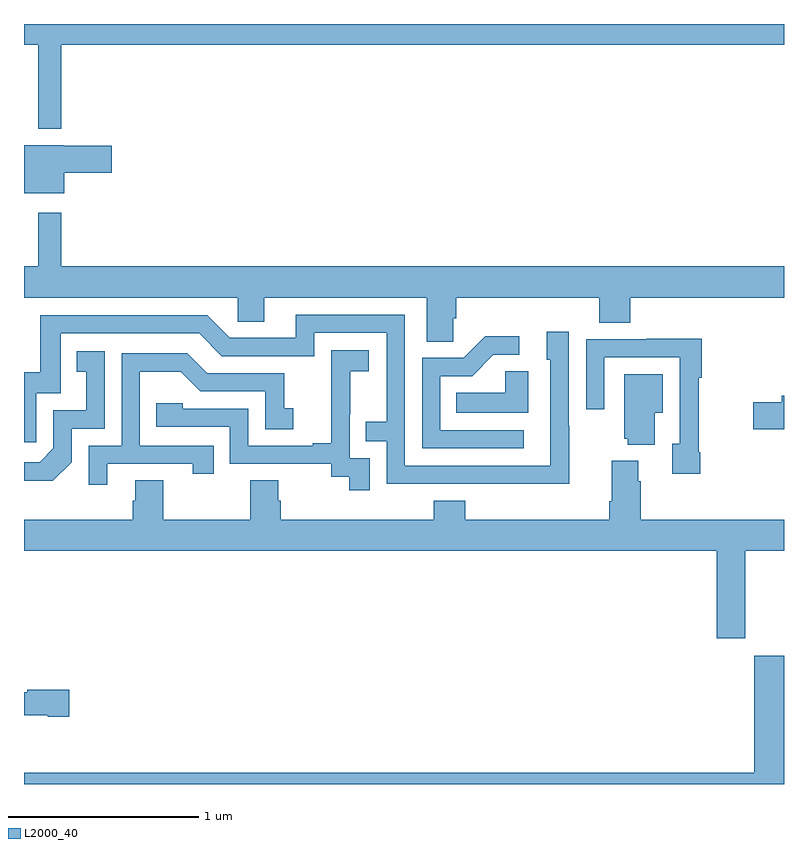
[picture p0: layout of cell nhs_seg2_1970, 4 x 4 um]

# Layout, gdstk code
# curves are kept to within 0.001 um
import gdstk
lib = gdstk.Library(unit=1e-6, precision=1e-09)
def P(c, l, *ps):  # polygons
    for p in ps: c.add(gdstk.Polygon(p, *l))
L2000_40 = (2000, 40)

nhs_seg2_1970 = lib.new_cell('nhs_seg2_1970')
P(nhs_seg2_1970, L2000_40, [(215.197,591.692),(219,591.692),(219,591.8),(215,591.8),(215,591.692),(215.075,591.692),(215.075,591.248),(215.197,591.248)],
  [(215.212,591.016),(215.461,591.016),(215.461,591.158),(215.208,591.158),(215.208,591.163),(215,591.163),(215,590.909),(215.212,590.909)],
  [(215.197,590.806),(215.075,590.806),(215.075,590.524),(215,590.524),(215,590.36),(216.126,590.36),(216.126,590.233),(216.265,590.233),(216.265,590.36),(217.121,590.36),(217.121,590.128),(217.26,590.128),(217.26,590.251),(217.274,590.251),(217.274,590.36),(218.027,590.36),(218.027,590.227),(218.192,590.227),(218.192,590.36),(219,590.36),(219,590.524),(215.197,590.524)],
  [(217.869,589.685),(217.866,589.685),(217.866,590.179),(217.751,590.179),(217.751,590.034),(217.77,590.034),(217.77,589.476),(217.005,589.476),(217.005,590.271),(216.431,590.271),(216.431,590.148),(216.084,590.148),(215.964,590.268),(215.085,590.268),(215.085,589.966),(215,589.966),(215,589.599),(215.064,589.599),(215.064,589.857),(215.193,589.857),(215.193,590.172),(215.922,590.172),(216.042,590.052),(216.528,590.052),(216.528,590.175),(216.909,590.175),(216.909,589.706),(216.799,589.706),(216.799,589.605),(216.909,589.605),(216.909,589.38),(217.869,589.379)],
  [(217.63,589.662),(217.191,589.662),(217.191,589.947),(217.36,589.947),(217.471,590.058),(217.606,590.058),(217.606,590.156),(217.427,590.156),(217.314,590.043),(217.095,590.043),(217.095,589.566),(217.63,589.566)],
  [(218.56,589.546),(218.552,589.546),(218.552,589.939),(218.567,589.939),(218.567,590.144),(218.275,590.144),(218.275,590.142),(217.959,590.142),(217.959,589.773),(218.055,589.773),(218.055,590.046),(218.451,590.046),(218.451,589.59),(218.411,589.59),(218.411,589.434),(218.56,589.434)],
  [(216.819,589.515),(216.714,589.515),(216.714,589.745),(216.716,589.745),(216.716,589.973),(216.814,589.973),(216.814,590.083),(216.616,590.083),(216.616,589.877),(216.617,589.877),(216.617,589.594),(216.521,589.594),(216.521,589.581),(216.18,589.581),(216.18,589.776),(215.835,589.776),(215.835,589.803),(215.695,589.803),(215.695,589.68),(216.084,589.68),(216.084,589.485),(216.618,589.485),(216.618,589.417),(216.711,589.417),(216.711,589.347),(216.819,589.347)],
  [(215.25,589.494),(215.25,589.671),(215.424,589.671),(215.424,590.077),(215.278,590.077),(215.278,589.971),(215.327,589.971),(215.327,589.767),(215.154,589.767),(215.154,589.566),(215.082,589.494),(215,589.494),(215,589.397),(215.152,589.397)],
  [(215.437,589.485),(215.888,589.485),(215.888,589.434),(215.999,589.434),(215.999,589.581),(215.61,589.581),(215.61,589.97),(215.824,589.97),(215.928,589.866),(216.27,589.866),(216.27,589.668),(216.418,589.668),(216.418,589.777),(216.369,589.777),(216.369,589.962),(215.965,589.962),(215.86,590.067),(215.514,590.067),(215.514,589.581),(215.34,589.581),(215.34,589.374),(215.437,589.374)],
  [(217.654,589.973),(217.533,589.973),(217.533,589.858),(217.276,589.858),(217.276,589.754),(217.654,589.754)],
  [(218.32,589.754),(218.362,589.754),(218.362,589.957),(218.159,589.957),(218.159,589.617),(218.177,589.617),(218.177,589.586),(218.32,589.586)],
  [(219,589.844),(218.987,589.844),(218.987,589.808),(218.838,589.808),(218.838,589.666),(219,589.666)],
  [(218.797,589.028),(219,589.028),(219,589.192),(218.246,589.192),(218.246,589.394),(218.233,589.394),(218.233,589.501),(218.093,589.501),(218.093,589.288),(218.081,589.288),(218.081,589.192),(217.322,589.192),(217.322,589.291),(217.157,589.291),(217.157,589.192),(216.35,589.192),(216.35,589.29),(216.337,589.29),(216.337,589.4),(216.19,589.4),(216.19,589.192),(215.733,589.192),(215.733,589.4),(215.585,589.4),(215.585,589.29),(215.573,589.29),(215.573,589.192),(215,589.192),(215,589.028),(218.645,589.028),(218.645,588.567),(218.797,588.567)],
  [(219,588.475),(218.843,588.475),(218.843,587.86),(215,587.86),(215,587.8),(219,587.8)],
  [(215.239,588.296),(215.016,588.296),(215.016,588.283),(215,588.283),(215,588.161),(215.126,588.161),(215.126,588.154),(215.239,588.154)])

lib.write_gds('nhs_seg2_1970.gds')
